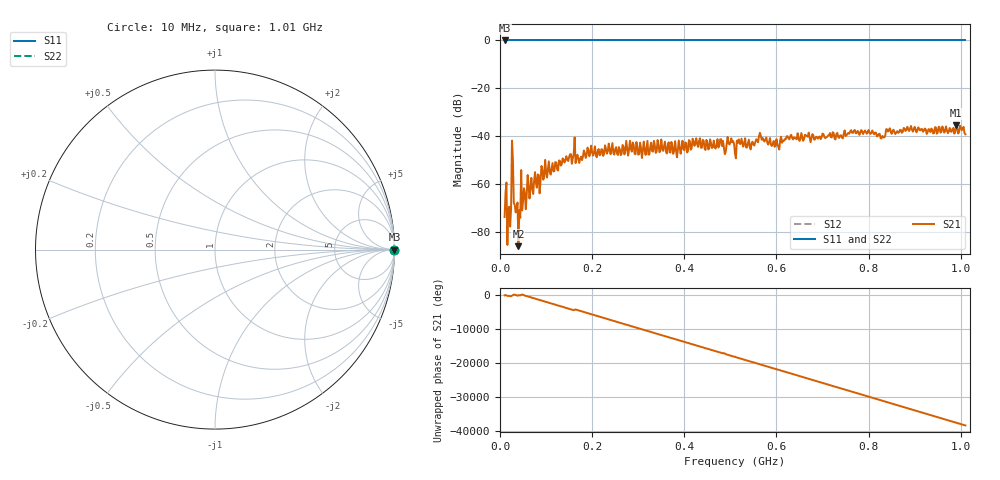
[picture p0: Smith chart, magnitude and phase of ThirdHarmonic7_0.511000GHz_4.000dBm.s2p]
! 8/17/2025 2:51:44 PM
! C:\ANRITSUVNA\TEMP\TEMP.S2P
! CHANNEL.1
! TR.MEASUREMENT
! RAW.DATA
! RF.CORRECTION.OFF
! AVERAGING.OFF
! IF.BANDWIDTH: 5KHZ
! SWEEPTYPE:  FREQ.SWEEP(Linear)
! Reference Plane Port Info
! PORT:  PORT1  PORT2
! DISTANCE:  0  m  0  m
! TIME:  0  s  0  s
! PHASE.OFFSET:  0  deg.  0  deg.
! LOSS:  0  dB  0  dB
! REF.LOSS:  0  dB  0  dB
! REF.FREQ:  0  Hz  0  Hz
! Power Info
! POWER:  -20  dBm  -20  dBm
! EFF.POWER:  -20  dBm  -20  dBm
! SOURCE.ATTEN:  0  dB  0  dB
! TEST.ATTEN:  0  dB  0  dB
# GHZ S RI R 50.0
! FREQ.GHZ  S11RE  S11IM  S21RE  S21IM  S12RE  S12IM  S22RE  S22IM
!; PortSelection: Port_12
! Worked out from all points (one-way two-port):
!   501 points, 10 MHz to 1.01 GHz, reference 50 ohm
!   highest |S21| = -35.45 dB at 990 MHz (marker M1); lowest = -86.0 dB at 40 MHz (marker M2)
!   lowest |S11| = 0.0 dB at 10 MHz (marker M3)
!   |S11| at or under -10 dB: nowhere
!   |S22| runs from 0.0 to 0.0 dB; largest |S21 - S12| = 1
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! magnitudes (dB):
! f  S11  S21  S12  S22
! 10 MHz  0.0  -73.8  0.0  0.0
! 16 MHz  0.0  -85.5  0.0  0.0
! 20 MHz  0.0  -69.5  0.0  0.0
! 24 MHz  0.0  -70.5  0.0  0.0
! 28 MHz  0.0  -49.8  0.0  0.0
! 36 MHz  0.0  -70.5  0.0  0.0
! 40 MHz  0.0  -86.0  0.0  0.0
! 50 MHz  0.0  -67.4  0.0  0.0
! 52 MHz  0.0  -61.8  0.0  0.0
! 64 MHz  0.0  -66.1  0.0  0.0
! 84 MHz  0.0  -56.3  0.0  0.0
! 94 MHz  0.0  -58.2  0.0  0.0
! 178 MHz  0.0  -50.1  0.0  0.0
! 344 MHz  0.0  -43.7  0.0  0.0
! 510 MHz  0.0  -47.3  0.0  0.0
! 566 MHz  0.0  -39.8  0.0  0.0
! 602 MHz  0.0  -43.5  0.0  0.0
! 678 MHz  0.0  -39.2  0.0  0.0
! 830 MHz  0.0  -39.9  0.0  0.0
! 844 MHz  0.0  -37.6  0.0  0.0
! 990 MHz  0.0  -35.4  0.0  0.0
! 1.01 GHz  0.0  -39.2  0.0  0.0
